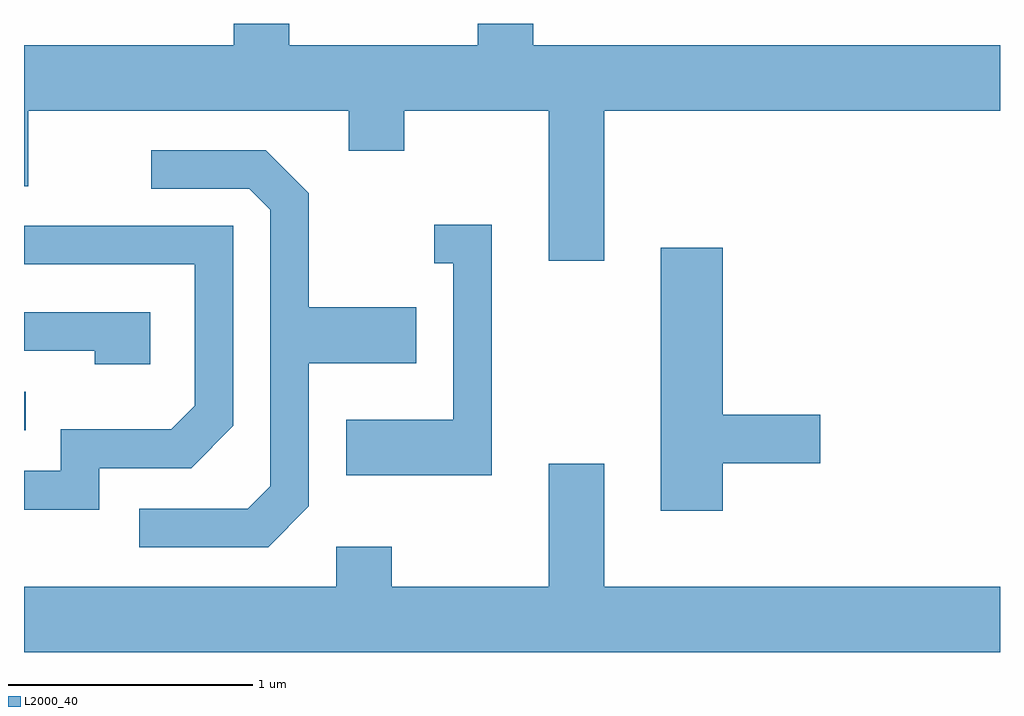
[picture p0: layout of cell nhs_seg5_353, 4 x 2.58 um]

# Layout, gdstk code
import gdstk
lib = gdstk.Library(unit=1e-6, precision=1e-09)
def R(c, l, rs):  # rectangles x0, y0, x1, y1
    for r in rs: c.add(gdstk.rectangle(r[:2], r[2:], *l))
def P(c, l, *ps):  # polygons
    for p in ps: c.add(gdstk.Polygon(p, *l))
L2000_40 = (2000, 40)

nhs_seg5_353 = lib.new_cell('nhs_seg5_353')
R(nhs_seg5_353, L2000_40, [(195.611,1424.406,195.618,1424.564)])
P(nhs_seg5_353, L2000_40, [(197.989,1425.716),(199.611,1425.716),(199.611,1425.984),(197.699,1425.984),(197.699,1426.072),(197.471,1426.072),(197.471,1425.984),(196.699,1425.984),(196.699,1426.072),(196.471,1426.072),(196.471,1425.984),(195.611,1425.984),(195.611,1425.406),(195.629,1425.406),(195.629,1425.716),(196.941,1425.716),(196.941,1425.551),(197.169,1425.551),(197.169,1425.716),(197.761,1425.716),(197.761,1425.101),(197.989,1425.101)],
  [(196.779,1424.094),(196.779,1424.681),(197.219,1424.681),(197.219,1424.909),(196.779,1424.909),(196.779,1425.377),(196.602,1425.554),(196.133,1425.554),(196.133,1425.396),(196.534,1425.396),(196.621,1425.309),(196.621,1424.177),(196.529,1424.084),(196.083,1424.084),(196.083,1423.926),(196.612,1423.926)],
  [(197.529,1425.249),(197.293,1425.249),(197.293,1425.091),(197.371,1425.091),(197.371,1424.449),(196.931,1424.449),(196.931,1424.221),(197.529,1424.221)],
  [(195.919,1424.251),(196.297,1424.251),(196.469,1424.424),(196.469,1425.244),(195.611,1425.244),(195.611,1425.086),(196.311,1425.086),(196.311,1424.507),(196.214,1424.409),(195.761,1424.409),(195.761,1424.239),(195.611,1424.239),(195.611,1424.081),(195.919,1424.081)],
  [(198.474,1424.271),(198.874,1424.271),(198.874,1424.469),(198.474,1424.469),(198.474,1425.154),(198.221,1425.154),(198.221,1424.076),(198.474,1424.076)],
  [(196.129,1424.889),(195.611,1424.889),(195.611,1424.731),(195.901,1424.731),(195.901,1424.676),(196.129,1424.676)],
  [(199.611,1423.764),(197.989,1423.764),(197.989,1424.269),(197.761,1424.269),(197.761,1423.764),(197.119,1423.764),(197.119,1423.929),(196.891,1423.929),(196.891,1423.764),(195.611,1423.764),(195.611,1423.496),(199.611,1423.496)])

lib.write_gds('nhs_seg5_353.gds')
